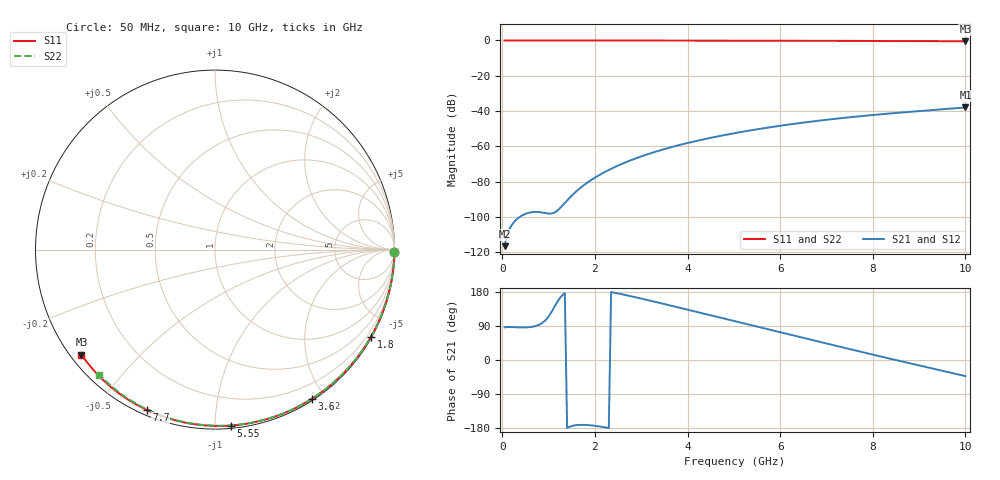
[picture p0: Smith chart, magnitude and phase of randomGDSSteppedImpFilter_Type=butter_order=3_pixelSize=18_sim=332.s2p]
! freq	dB(S11)	phase(S11)	dB(S12)	phase(S12)
!  dB(S21)	phase(S21)	dB(S22)	phase(S22)
!S-par simulation data
#  GHz  S  DB  R 50
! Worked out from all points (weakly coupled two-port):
!   200 points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, 50 MHz to 10 GHz, reference 50 ohm
!   highest |S21| = -37.96 dB at 10 GHz (marker M1); lowest = -116.5 dB at 50 MHz (marker M2)
!   lowest |S11| = -0.5 dB at 10 GHz (marker M3), VSWR 36.38, Z = 1.54 - j17.3 ohm
!   |S11| at or under -10 dB: nowhere
!   |S22| runs from -0.4 to 0.0 dB; largest |S21 - S12| = 0
!   S11 on the Smith chart (normalised r, x): 50 MHz: open; 1.8 GHz: 0.03, -3.84; 3.6 GHz: 0.02, -1.84; 5.55 GHz: 0.02, -1.09; 7.7 GHz: 0.02, -0.66; 10 GHz: 0.03, -0.35
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0.05  -0.00 -0.8  -116.50 86.0  -116.50 86.0  -0.00 -0.8
0.85  -0.02 -13.9  -97.36 96.7  -97.36 96.7  -0.02 -13.0
1.3  -0.03 -21.2  -93.43 171.4  -93.43 171.4  -0.02 -19.8
1.75  -0.04 -28.4  -82.17 -171.2  -82.17 -171.2  -0.03 -26.5
1.8  -0.04 -29.2  -81.19 -171.4  -81.19 -171.4  -0.03 -27.2
1.85  -0.04 -30.0  -80.26 -171.8  -80.26 -171.8  -0.04 -28.0
1.9  -0.04 -30.8  -79.37 -172.3  -79.37 -172.3  -0.04 -28.7
2.05  -0.04 -33.2  -76.90 -174.5  -76.90 -174.5  -0.04 -30.9
2.25  -0.05 -36.3  -74.01 -178.4  -74.01 -178.4  -0.04 -33.9
2.65  -0.05 -42.5  -69.16 171.8  -69.16 171.8  -0.05 -39.7
3  -0.06 -47.9  -65.68 162.1  -65.68 162.1  -0.06 -44.7
3.4  -0.07 -54.0  -62.29 150.6  -62.29 150.6  -0.07 -50.4
3.6  -0.08 -57.0  -60.78 144.7  -60.78 144.7  -0.07 -53.2
4.3  -0.10 -67.3  -56.26 123.9  -56.26 123.9  -0.09 -62.9
5.05  -0.12 -77.9  -52.34 101.6  -52.34 101.6  -0.11 -72.9
5.55  -0.14 -84.9  -50.12 86.7  -50.12 86.7  -0.13 -79.4
6.1  -0.16 -92.3  -47.94 70.4  -47.94 70.4  -0.15 -86.5
6.7  -0.19 -100.3  -45.86 52.5  -45.86 52.5  -0.18 -93.9
7.7  -0.26 -113.1  -42.97 23.0  -42.97 23.0  -0.24 -106.1
8.35  -0.31 -121.3  -41.40 4.1  -41.40 4.1  -0.29 -113.8
9.2  -0.39 -131.9  -39.59 -19.9  -39.59 -19.9  -0.37 -123.6
10  -0.48 -141.8  -37.96 -42.5  -37.96 -42.5  -0.45 -132.8
